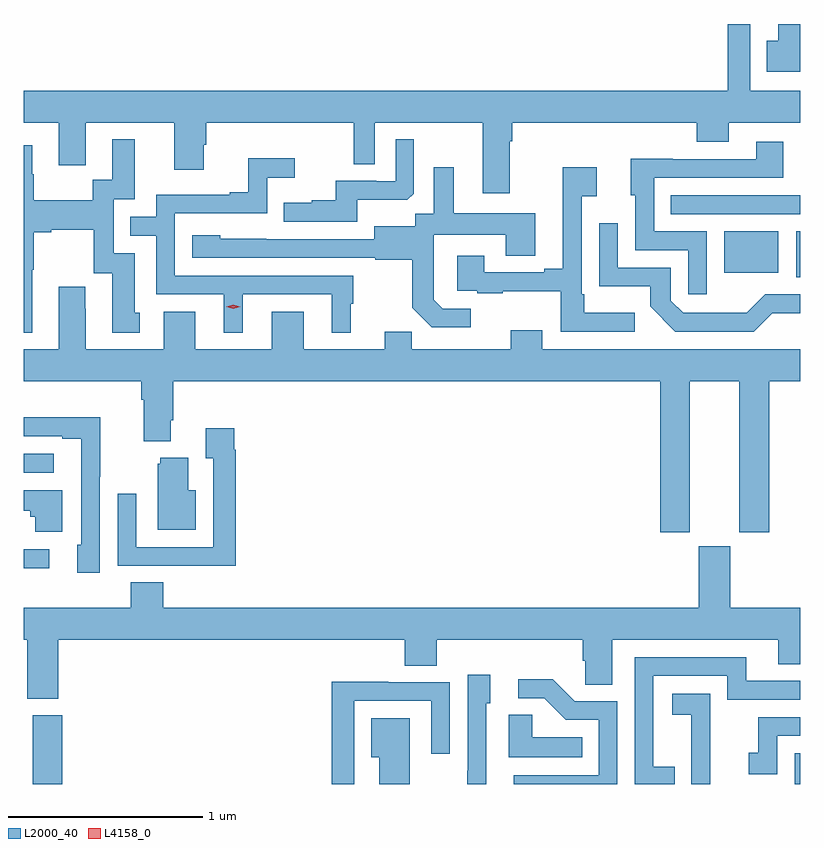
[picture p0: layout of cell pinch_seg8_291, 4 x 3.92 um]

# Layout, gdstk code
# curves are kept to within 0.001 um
import gdstk
lib = gdstk.Library(unit=1e-6, precision=1e-09)
def R(c, l, rs):  # rectangles x0, y0, x1, y1
    for r in rs: c.add(gdstk.rectangle(r[:2], r[2:], *l))
def P(c, l, *ps):  # polygons
    for p in ps: c.add(gdstk.Polygon(p, *l))
L2000_40 = (2000, 40)
L4158_0 = (4158, 0)

pinch_seg8_291 = lib.new_cell('pinch_seg8_291')
R(pinch_seg8_291, L2000_40, [(556.292,1130.409,556.445,1130.763), (560.22,1130.409,560.247,1130.568), (556.247,1131.521,556.378,1131.618), (556.247,1132.014,556.402,1132.11), (560.228,1133.021,560.247,1133.257), (559.856,1133.042,560.134,1133.257), (559.579,1133.346,560.247,1133.442)])
P(pinch_seg8_291, L2000_40, [(558.751,1133.72),(558.764,1133.72),(558.764,1133.816),(559.715,1133.816),(559.715,1133.717),(559.879,1133.717),(559.879,1133.816),(560.247,1133.816),(560.247,1133.98),(559.989,1133.98),(559.989,1134.325),(559.873,1134.325),(559.873,1133.98),(556.247,1133.98),(556.247,1133.816),(556.427,1133.816),(556.427,1133.598),(556.567,1133.598),(556.567,1133.816),(557.021,1133.816),(557.021,1133.574),(557.173,1133.574),(557.173,1133.703),(557.186,1133.703),(557.186,1133.816),(557.946,1133.816),(557.946,1133.602),(558.054,1133.602),(558.054,1133.816),(558.611,1133.816),(558.611,1133.454),(558.751,1133.454)],
  [(560.247,1134.325),(560.135,1134.325),(560.135,1134.238),(560.074,1134.238),(560.074,1134.08),(560.247,1134.08)],
  [(556.291,1133.059),(556.299,1133.059),(556.299,1133.252),(556.387,1133.252),(556.387,1133.264),(556.607,1133.264),(556.607,1133.04),(556.703,1133.04),(556.703,1132.734),(556.843,1132.734),(556.843,1132.836),(556.819,1132.836),(556.819,1133.145),(556.71,1133.145),(556.71,1133.421),(556.819,1133.421),(556.819,1133.731),(556.703,1133.731),(556.703,1133.522),(556.602,1133.522),(556.602,1133.416),(556.299,1133.416),(556.299,1133.55),(556.291,1133.55),(556.291,1133.701),(556.247,1133.701),(556.247,1132.733),(556.291,1132.733)],
  [(557.965,1133.42),(558.223,1133.42),(558.255,1133.451),(558.255,1133.731),(558.162,1133.731),(558.162,1133.514),(558.062,1133.514),(558.062,1133.517),(557.855,1133.517),(557.855,1133.416),(557.731,1133.416),(557.731,1133.404),(557.587,1133.404),(557.587,1133.307),(557.965,1133.307)],
  [(559.767,1133.256),(559.494,1133.256),(559.494,1133.532),(560.161,1133.532),(560.161,1133.719),(560.021,1133.719),(560.021,1133.628),(559.591,1133.628),(559.591,1133.63),(559.373,1133.63),(559.373,1133.442),(559.398,1133.442),(559.398,1133.16),(559.671,1133.16),(559.671,1132.932),(559.767,1132.932)],
  [(557.374,1132.932),(557.834,1132.932),(557.834,1132.733),(557.932,1132.733),(557.932,1132.884),(557.944,1132.884),(557.944,1133.028),(557.025,1133.028),(557.025,1133.349),(557.502,1133.349),(557.502,1133.534),(557.644,1133.534),(557.644,1133.633),(557.404,1133.633),(557.404,1133.458),(557.309,1133.458),(557.309,1133.445),(556.929,1133.445),(556.929,1133.331),(556.795,1133.331),(556.795,1133.235),(556.929,1133.235),(556.929,1132.932),(557.276,1132.932),(557.276,1132.733),(557.374,1132.733)],
  [(558.55,1132.857),(558.405,1132.857),(558.358,1132.904),(558.358,1132.999),(558.36,1132.999),(558.36,1133.24),(558.731,1133.24),(558.731,1133.131),(558.883,1133.131),(558.883,1133.35),(558.463,1133.35),(558.463,1133.587),(558.359,1133.587),(558.359,1133.348),(558.264,1133.348),(558.264,1133.284),(558.053,1133.284),(558.053,1133.217),(557.259,1133.218),(557.259,1133.236),(557.115,1133.236),(557.115,1133.121),(558.057,1133.121),(558.057,1133.109),(558.249,1133.109),(558.249,1132.863),(558.349,1132.763),(558.55,1132.763)],
  [(559.396,1132.837),(559.135,1132.837),(559.135,1132.933),(559.122,1132.933),(559.122,1133.438),(559.198,1133.438),(559.198,1133.587),(559.025,1133.587),(559.025,1133.065),(558.929,1133.065),(558.929,1133.046),(558.619,1133.046),(558.619,1133.131),(558.479,1133.131),(558.479,1132.95),(558.583,1132.95),(558.583,1132.938),(558.715,1132.938),(558.715,1132.949),(559.014,1132.949),(559.014,1132.74),(559.396,1132.74)],
  [(560.102,1132.835),(560.247,1132.835),(560.247,1132.932),(560.067,1132.932),(559.973,1132.838),(559.868,1132.838),(559.868,1132.836),(559.644,1132.836),(559.581,1132.899),(559.581,1133.07),(559.308,1133.07),(559.308,1133.299),(559.212,1133.299),(559.212,1132.973),(559.474,1132.973),(559.474,1132.871),(559.604,1132.74),(560.007,1132.74)],
  [(557.525,1132.843),(557.525,1132.648),(557.131,1132.648),(557.131,1132.843),(556.967,1132.843),(556.967,1132.648),(556.567,1132.648),(556.567,1132.859),(556.564,1132.859),(556.564,1132.972),(556.427,1132.972),(556.427,1132.648),(556.247,1132.648),(556.247,1132.484),(556.853,1132.484),(556.853,1132.388),(556.865,1132.388),(556.865,1132.175),(557.005,1132.175),(557.005,1132.282),(557.018,1132.282),(557.018,1132.484),(559.526,1132.484),(559.526,1131.705),(559.678,1131.705),(559.678,1132.484),(559.934,1132.484),(559.934,1131.705),(560.087,1131.705),(560.087,1132.484),(560.247,1132.484),(560.247,1132.648),(558.919,1132.648),(558.919,1132.747),(558.755,1132.747),(558.755,1132.648),(558.245,1132.648),(558.245,1132.739),(558.107,1132.739),(558.107,1132.648),(557.689,1132.648),(557.689,1132.843)],
  [(556.638,1131.991),(556.641,1131.991),(556.641,1132.298),(556.247,1132.298),(556.247,1132.2),(556.445,1132.2),(556.445,1132.188),(556.542,1132.188),(556.542,1131.642),(556.523,1131.642),(556.523,1131.498),(556.638,1131.498)],
  [(557.339,1132.13),(557.332,1132.13),(557.332,1132.243),(557.183,1132.243),(557.183,1132.087),(557.223,1132.087),(557.223,1131.63),(556.827,1131.63),(556.827,1131.904),(556.731,1131.904),(556.731,1131.534),(557.047,1131.534),(557.047,1131.533),(557.339,1131.533)],
  [(557.134,1131.922),(557.095,1131.922),(557.095,1132.09),(556.949,1132.09),(556.949,1132.059),(556.937,1132.059),(556.937,1131.719),(557.134,1131.719)],
  [(556.444,1131.922),(556.247,1131.922),(556.247,1131.818),(556.279,1131.818),(556.279,1131.786),(556.305,1131.786),(556.305,1131.71),(556.444,1131.71)],
  [(556.424,1131.152),(558.209,1131.152),(558.209,1131.019),(558.374,1131.019),(558.374,1131.152),(559.127,1131.152),(559.127,1131.043),(559.14,1131.043),(559.14,1130.92),(559.279,1130.92),(559.279,1131.152),(560.135,1131.152),(560.135,1131.025),(560.247,1131.025),(560.247,1131.316),(559.888,1131.316),(559.888,1131.633),(559.724,1131.633),(559.724,1131.316),(556.964,1131.316),(556.964,1131.449),(556.799,1131.449),(556.799,1131.316),(556.247,1131.316),(556.247,1131.152),(556.264,1131.152),(556.264,1130.848),(556.424,1130.848)],
  [(559.601,1130.498),(559.491,1130.498),(559.491,1130.967),(559.872,1130.967),(559.872,1130.844),(560.247,1130.844),(560.247,1130.94),(559.969,1130.94),(559.969,1131.063),(559.395,1131.063),(559.395,1130.409),(559.601,1130.409)],
  [(558.63,1130.826),(558.649,1130.826),(558.649,1130.971),(558.534,1130.971),(558.534,1130.477),(558.532,1130.477),(558.532,1130.409),(558.63,1130.409)],
  [(559.305,1130.835),(559.086,1130.835),(558.973,1130.948),(558.795,1130.948),(558.795,1130.85),(558.929,1130.85),(559.04,1130.739),(559.209,1130.739),(559.209,1130.454),(558.771,1130.454),(558.771,1130.409),(559.305,1130.409)],
  [(557.949,1130.838),(558.345,1130.838),(558.345,1130.565),(558.441,1130.565),(558.441,1130.934),(558.125,1130.934),(558.125,1130.936),(557.833,1130.936),(557.833,1130.409),(557.949,1130.409)],
  [(559.784,1130.669),(559.785,1130.669),(559.785,1130.875),(559.587,1130.875),(559.587,1130.765),(559.685,1130.765),(559.685,1130.537),(559.686,1130.537),(559.686,1130.409),(559.784,1130.409)],
  [(559.124,1130.65),(558.867,1130.65),(558.867,1130.765),(558.746,1130.765),(558.746,1130.546),(559.124,1130.546)],
  [(560.13,1130.658),(560.247,1130.658),(560.247,1130.754),(560.032,1130.754),(560.032,1130.569),(559.983,1130.569),(559.983,1130.46),(560.13,1130.46)],
  [(558.235,1130.749),(558.038,1130.749),(558.038,1130.546),(558.077,1130.546),(558.077,1130.409),(558.235,1130.409)])
P(pinch_seg8_291, L4158_0, [(557.325,1132.859),(557.289,1132.869),(557.289,1132.869),(557.289,1132.869),(557.325,1132.879),(557.361,1132.869),(557.361,1132.869),(557.361,1132.869)])

lib.write_gds('pinch_seg8_291.gds')
